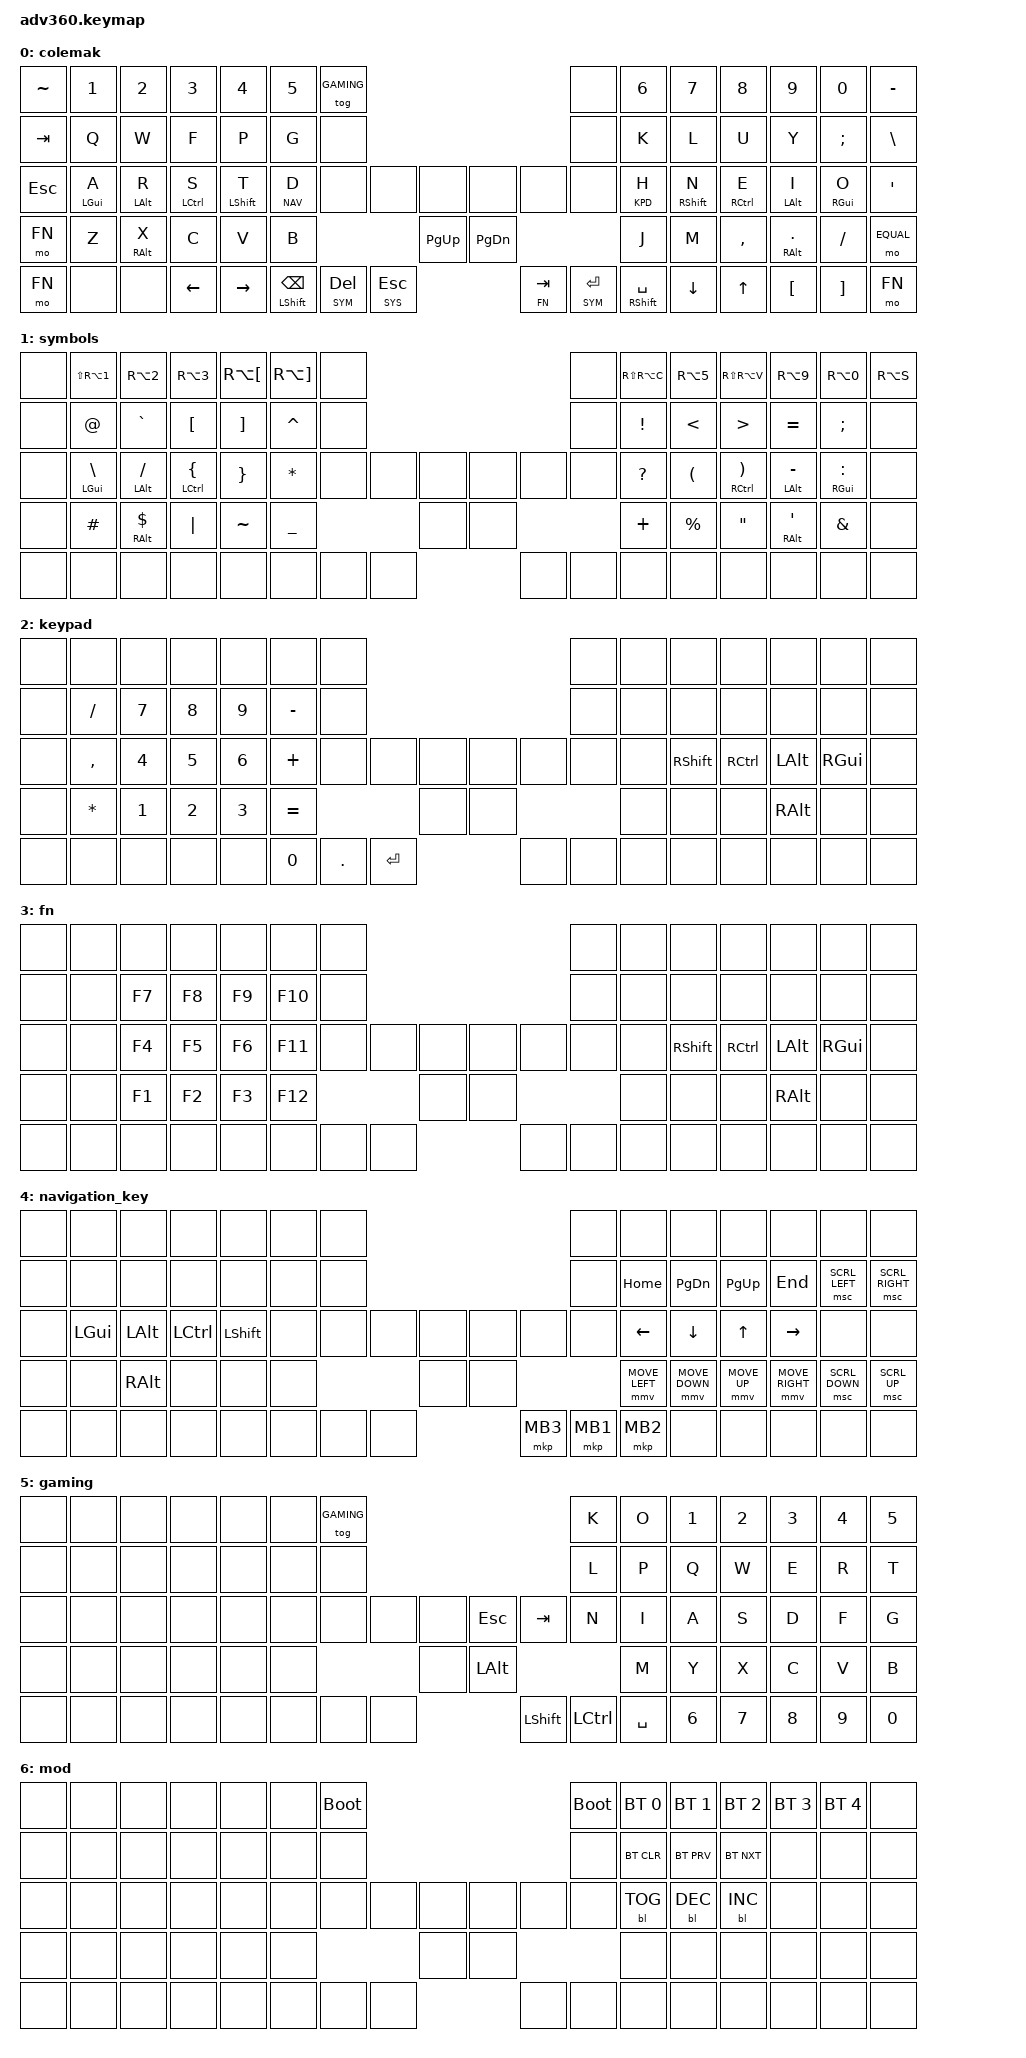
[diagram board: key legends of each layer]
#include <behaviors.dtsi>
#include <dt-bindings/zmk/keys.h>
#include <dt-bindings/zmk/bt.h>
#include <dt-bindings/zmk/rgb.h>
#include <dt-bindings/zmk/stp.h>
#include <dt-bindings/zmk/backlight.h>
#include <dt-bindings/zmk/pointing.h>

&mt {
    flavor = "hold-preferred";
    require-prior-idle-ms= <125>;
    tapping-term-ms = <200>;
    quick-tap-ms = <200>;
};

&lt {
    flavor = "hold-preferred";
    require-prior-idle-ms= <125>;
    tapping-term-ms = <200>;
    quick-tap-ms = <200>;
};

&mmv {
    x-input-code = <INPUT_REL_X>;
    y-input-code = <INPUT_REL_Y>;
    time-to-max-speed-ms = <300>;
    acceleration-exponent = <1>;
};

&msc {
    x-input-code = <INPUT_REL_HWHEEL>;
    y-input-code = <INPUT_REL_WHEEL>;
    time-to-max-speed-ms = <300>;
    acceleration-exponent = <0>;
};

#define SYM 1
#define KPD 2
#define FN 3
#define NAV 4
#define GAMING 5
#define SYS 6

/ {
    behaviors {
      #include "macros.dtsi"
      #include "version.dtsi"

      hr: homerow {
          compatible = "zmk,behavior-hold-tap";
          #binding-cells = <2>;
          flavor = "tap-preferred";
          tapping-term-ms = <300>;
          quick-tap-ms = <200>;
          require-prior-idle-ms = <125>;
          bindings = <&kp>, <&kp>;
      };

      hlt: layer_tap {
         compatible = "zmk,behavior-hold-tap";
         #binding-cells = <2>;
         flavor = "tap-preferred";
         tapping-term-ms = <300>;
         quick-tap-ms = <200>;
         require-prior-idle-ms = <125>;
         bindings = <&mo>, <&kp>;
      };
    };


  keymap {
    compatible = "zmk,keymap";
    colemak {
        bindings = <
            &kp TILDE &kp N1     &kp N2     &kp N3      &kp N4      &kp N5      &tog GAMING                                                                       &none  &kp N6      &kp N7      &kp N8      &kp N9       &kp N0     &kp MINUS
            &kp TAB   &kp Q      &kp W      &kp F       &kp P       &kp G       &none                                                                             &none  &kp K       &kp L       &kp U       &kp Y        &kp SEMI   &kp BSLH
            &kp ESC   &hr LGUI A &hr LALT R &hr LCTRL S &hr LSHFT T &hlt NAV D  &none           &none        &none       &none      &none                         &none  &hlt KPD H  &hr RSHFT N &hr RCTRL E &hr LALT I   &hr RGUI O &kp SQT
            &mo FN    &kp Z      &hr RALT X &kp C       &kp V       &kp B                                    &kp PG_UP   &kp PG_DN                                       &kp J       &kp M       &kp COMMA   &hr RALT DOT &kp FSLH   &mo EQUAL
            &mo FN    &none      &none      &kp LEFT    &kp RIGHT                &mt LSHFT BSPC &hlt SYM DEL &lt SYS ESC &lt FN TAB &hlt SYM ENTER &mt RSHFT SPACE                   &kp DOWN    &kp UP      &kp LBKT     &kp RBKT   &mo FN
        >;
    };

    symbols {
        bindings = <
            &none &kp LS(RA(N1)) &kp RA(N2)    &kp RA(N3)     &kp RA(LBKT) &kp RA(RBKT) &none                                       &none &kp RS(RA(C)) &kp RA(N5)  &kp RS(RA(V))  &kp RA(N9)     &kp RA(N0)     &kp RA(S)
            &none &kp AT         &kp GRAVE     &kp LBKT       &kp RBKT     &kp CARET    &none                                       &none &kp EXCL      &kp LT      &kp GT         &kp EQUAL      &kp SEMI       &none
            &none &hr LGUI BSLH  &hr LALT FSLH &hr LCTRL LBRC &kp RBRC     &kp STAR     &none        &none &none &none &none        &none &kp QMARK     &kp LPAR    &hr RCTRL RPAR &hr LALT MINUS &hr RGUI COLON &none
            &none &kp HASH       &hr RALT DLLR &kp PIPE       &kp TILDE    &kp UNDER                       &none &none                    &kp PLUS      &kp PRCNT   &kp DQT        &hr RALT APOS  &kp AMPS       &none
            &none &none          &none         &none          &none                            &none &none &none &none &none &none                      &none       &none          &none          &none          &none
        >;
    };

    keypad {
        bindings = <
            &none &none     &none   &none  &none  &none     &none                                            &none &none  &none     &none     &none    &none    &none
            &none &kp FSLH  &kp N7  &kp N8 &kp N9 &kp MINUS &none                                            &none &none  &none     &none     &none    &none    &none
            &none &kp COMMA &kp N4  &kp N5 &kp N6 &kp PLUS  &none          &none &none     &none &none       &none &none  &kp RSHFT &kp RCTRL &kp LALT &kp RGUI &none
            &none &kp STAR  &kp N1  &kp N2 &kp N3 &kp EQUAL                      &none     &none                   &none  &none     &none     &kp RALT &none    &none
            &none &none     &none   &none  &none                  &kp N0 &kp DOT &kp ENTER &none &none &none              &none     &none     &none    &none    &none
        >;
    };

    fn {
        bindings = <
            &none &none &none  &none  &none  &none   &none                                     &none &none  &none     &none     &none    &none    &none
            &none &none &kp F7 &kp F8 &kp F9 &kp F10 &none                                     &none &none  &none     &none     &none    &none    &none
            &none &none &kp F4 &kp F5 &kp F6 &kp F11 &none     &none &none &none &none         &none &none  &kp RSHFT &kp RCTRL &kp LALT &kp RGUI &none
            &none &none &kp F1 &kp F2 &kp F3 &kp F12                 &none &none                     &none  &none     &none     &kp RALT &none    &none
            &none &none &none  &none  &none              &none &none &none &none &none &none                &none     &none     &none    &none    &none
        >;
    };

 
    navigation_key {
        bindings = <
            &none &none    &none    &none     &none     &none &none                                              &none &none          &none          &none        &none           &none          &none
            &none &none    &none    &none     &none     &none &none                                              &none &kp HOME       &kp PG_DN      &kp PG_UP    &kp END         &msc SCRL_LEFT &msc SCRL_RIGHT
            &none &kp LGUI &kp LALT &kp LCTRL &kp LSHFT &none &none       &none &none &none &none                &none &kp LEFT       &kp DOWN       &kp UP       &kp RIGHT       &none          &none
            &none &none    &kp RALT &none     &none     &none                   &none &none                            &mmv MOVE_LEFT &mmv MOVE_DOWN &mmv MOVE_UP &mmv MOVE_RIGHT &msc SCRL_DOWN &msc SCRL_UP
            &none &none    &none    &none     &none                 &none &none &none &mkp MB3 &mkp MB1 &mkp MB2                      &none          &none        &none           &none          &none
        >;
    };

    gaming {
        bindings = <
            &none &none &none &none &none &none &tog GAMING                                             &kp K &kp O  &kp N1  &kp N2  &kp N3  &kp N4  &kp N5
            &none &none &none &none &none &none &none                                                   &kp L &kp P  &kp Q   &kp W   &kp E   &kp R   &kp T
            &none &none &none &none &none &none &none        &none &none  &kp ESC   &kp TAB             &kp N &kp I  &kp A   &kp S   &kp D   &kp F   &kp G
            &none &none &none &none &none &none                    &none  &kp LALT                            &kp M  &kp Y   &kp X   &kp C   &kp V   &kp B
            &none &none &none &none &none              &none &none &none  &kp LSHFT &kp LCTRL &kp SPACE              &kp N6  &kp N7  &kp N8  &kp N9  &kp N0
        >;
    };
 
    mod {
        bindings = <
            &none &none &none &none &none &none &bootloader                                     &bootloader &bt BT_SEL 0 &bt BT_SEL 1 &bt BT_SEL 2 &bt BT_SEL 3 &bt BT_SEL 4 &none
            &none &none &none &none &none &none &none                                           &none       &bt BT_CLR   &bt BT_PRV   &bt BT_NXT   &none        &none        &none
            &none &none &none &none &none &none &none             &none &none &none &none       &none       &bl BL_TOG   &bl BL_DEC   &bl BL_INC   &none        &none        &none
            &none &none &none &none &none &none                         &none &none                         &none        &none        &none        &none        &none        &none
            &none &none &none &none &none                   &none &none &none &none &none &none                          &none        &none        &none        &none        &none
        >;
    };
 
    extra1 { 
      display-name = "Red";
      status = "reserved";
    };

    extra2 { 
      display-name = "Purple";
      status = "reserved";
    };

    extra3 { 
      display-name = "Cyan";
      status = "reserved";
    };

    extra4 { 
      display-name = "Yellow";
      status = "reserved";
    };
  };
};
